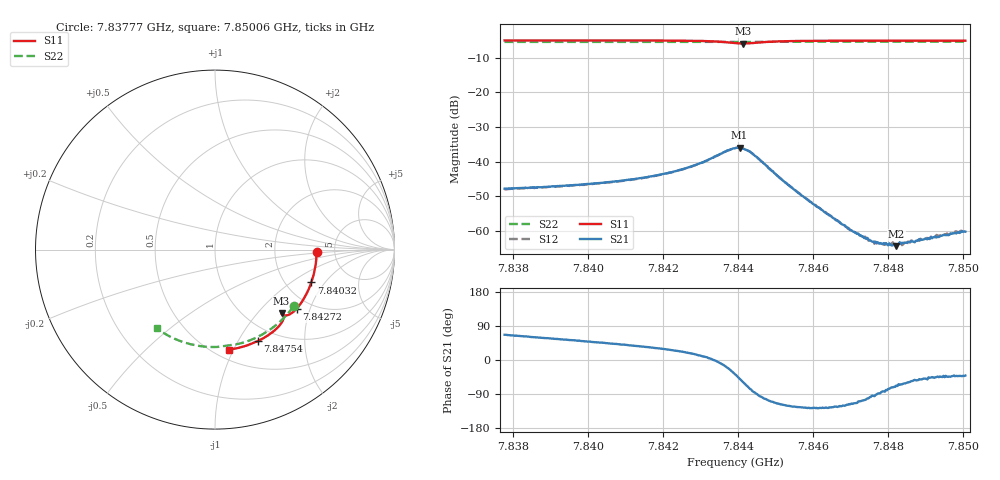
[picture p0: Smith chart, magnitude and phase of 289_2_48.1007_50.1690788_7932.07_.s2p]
#  HZ  S  RI  R  50.00
! Rohde & Schwarz Vector Network Analyzer
! Rohde-Schwarz,ZNB20-2Port,1311601062101988,3.16
! Created: UTC 12/23/2023, 4:03:34 AM
! freq[Hz]  re:S11  im:S11  re:S21  im:S21  re:S12  im:S12  re:S22  im:S22
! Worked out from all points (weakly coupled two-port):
!   401 points, 7.83777 GHz to 7.85006 GHz, reference 50 ohm
!   highest |S21| = -36.00 dB at 7.84404 GHz (marker M1); lowest = -64.5 dB at 7.84822 GHz (marker M2)
!   lowest |S11| = -5.8 dB at 7.84413 GHz (marker M3), VSWR 3.10, Z = 70.9 - j67.9 ohm
!   |S11| at or under -10 dB: nowhere
!   |S22| runs from -5.4 to -5.3 dB; largest |S21 - S12| = 0.00032
!   S11 on the Smith chart (normalised r, x): 7.83777 GHz: 3.61, -0.17; 7.84032 GHz: 2.73, -1.47; 7.84272 GHz: 1.69, -1.62; 7.84754 GHz: 0.81, -1.21; 7.85006 GHz: 0.59, -0.96
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7.837775e9  0.5663 -0.0156  0.0016 0.00371  0.00161 0.00362  0.4381 -0.3156
7.839833e9  0.5463 -0.1513  0.00299 0.00355  0.00293 0.00353  0.3397 -0.4204
7.840325e9  0.5366 -0.183  0.00339 0.00352  0.00338 0.0035  0.3123 -0.4416
7.841891e9  0.4909 -0.2808  0.00551 0.00325  0.00545 0.00326  0.2171 -0.4959
7.842721e9  0.4546 -0.3295  0.00797 0.00257  0.00792 0.00256  0.1623 -0.5165
7.84312e9  0.4314 -0.3509  0.01 0.00143  0.00998 0.00147  0.1352 -0.5241
7.843458e9  0.4069 -0.3645  0.0122 -0.00111  0.0122 -0.000927  0.1118 -0.5289
7.843919e9  0.373 -0.3613  0.0123 -0.0095  0.0125 -0.00944  0.0811 -0.5329
7.844042e9  0.3703 -0.356  0.0104 -0.012  0.0105 -0.0119  0.0734 -0.5337
7.844134e9  0.3711 -0.353  0.00804 -0.0131  0.00828 -0.0131  0.0677 -0.5348
7.84438e9  0.38 -0.3552  0.00194 -0.013  0.00208 -0.0129  0.0519 -0.5373
7.845178e9  0.37 -0.4092  -0.00252 -0.00476  -0.00252 -0.00479  -0.00366 -0.5427
7.845977e9  0.33 -0.4521  -0.00149 -0.00198  -0.00151 -0.00202  -0.06 -0.5403
7.84696e9  0.2736 -0.491  -0.000461 -0.000937  -0.000484 -0.000954  -0.1282 -0.5289
7.847544e9  0.2385 -0.5098  -9.15e-05 -0.000707  -9.19e-05 -0.000722  -0.168 -0.5183
7.847851e9  0.2196 -0.5182  7.71e-05 -0.000631  3.26e-05 -0.00064  -0.1883 -0.5115
7.848035e9  0.2083 -0.523  0.000161 -0.000632  0.000145 -0.000614  -0.2005 -0.5067
7.84822e9  0.1965 -0.5275  0.000228 -0.000548  0.000243 -0.000573  -0.2124 -0.502
7.848435e9  0.1831 -0.5323  0.00031 -0.000583  0.000304 -0.000595  -0.2263 -0.4962
7.848588e9  0.1733 -0.5356  0.000367 -0.000579  0.000359 -0.000568  -0.236 -0.4915
7.849786e9  0.0956 -0.5544  0.000677 -0.000627  0.000692 -0.000671  -0.3089 -0.4502
7.850063e9  0.0775 -0.5572  0.000727 -0.000632  0.000736 -0.000615  -0.3248 -0.439
